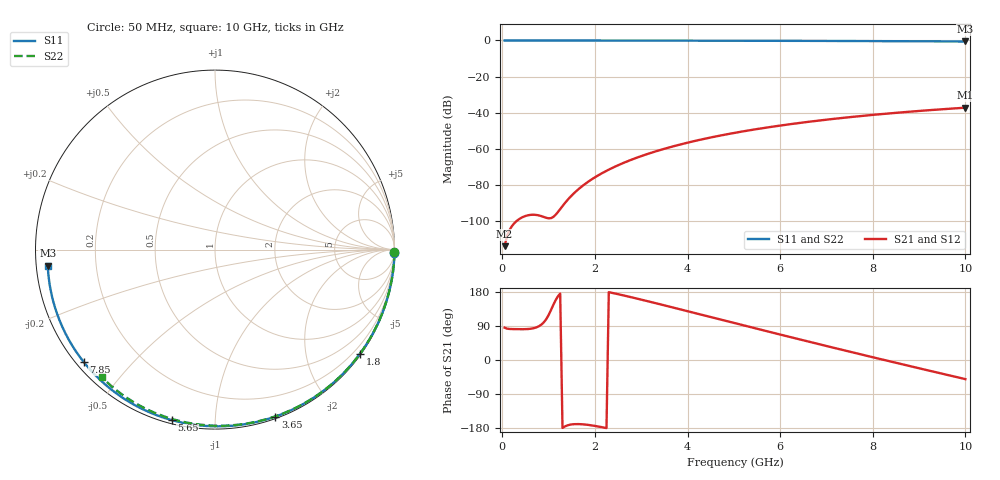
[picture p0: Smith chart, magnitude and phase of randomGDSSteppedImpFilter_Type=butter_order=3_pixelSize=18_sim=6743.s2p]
! freq	dB(S11)	phase(S11)	dB(S12)	phase(S12)
!  dB(S21)	phase(S21)	dB(S22)	phase(S22)
!S-par simulation data
#  GHz  S  DB  R 50
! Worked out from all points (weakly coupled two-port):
!   200 points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, 50 MHz to 10 GHz, reference 50 ohm
!   highest |S21| = -37.16 dB at 10 GHz (marker M1); lowest = -113.7 dB at 50 MHz (marker M2)
!   lowest |S11| = -0.6 dB at 10 GHz (marker M3), VSWR 30.28, Z = 1.66 - j2.39 ohm
!   |S11| at or under -10 dB: nowhere
!   |S22| runs from -0.4 to 0.0 dB; largest |S21 - S12| = 0
!   S11 on the Smith chart (normalised r, x): 50 MHz: open; 1.8 GHz: 0.03, -3.11; 3.65 GHz: 0.02, -1.43; 5.65 GHz: 0.02, -0.78; 7.85 GHz: 0.02, -0.37; 10 GHz: 0.03, -0.05
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0.05  -0.00 -1.0  -113.71 85.4  -113.71 85.4  -0.00 -0.8
0.45  -0.01 -9.1  -97.52 81.2  -97.52 81.2  -0.01 -6.8
0.85  -0.02 -17.0  -97.15 94.0  -97.15 94.0  -0.02 -12.9
1.3  -0.03 -25.9  -91.53 -179.2  -91.53 -179.2  -0.02 -19.6
1.75  -0.04 -34.7  -80.03 -169.9  -80.03 -169.9  -0.03 -26.2
1.8  -0.05 -35.6  -79.08 -170.5  -79.08 -170.5  -0.03 -27.0
2.1  -0.05 -41.4  -74.13 -176.1  -74.13 -176.1  -0.04 -31.3
2.3  -0.06 -45.2  -71.39 179.0  -71.39 179.0  -0.04 -34.3
2.5  -0.06 -49.0  -68.98 173.7  -68.98 173.7  -0.05 -37.1
2.9  -0.07 -56.4  -64.84 162.3  -64.84 162.3  -0.06 -42.9
3.4  -0.09 -65.6  -60.62 147.3  -60.62 147.3  -0.07 -49.9
3.65  -0.09 -70.1  -58.80 139.6  -58.80 139.6  -0.07 -53.4
4.35  -0.12 -82.4  -54.45 118.0  -54.45 118.0  -0.09 -63.0
5.05  -0.15 -94.3  -50.92 96.3  -50.92 96.3  -0.11 -72.3
5.65  -0.17 -104.3  -48.37 77.9  -48.37 77.9  -0.13 -80.0
6.15  -0.20 -112.4  -46.51 62.6  -46.51 62.6  -0.15 -86.3
6.7  -0.24 -121.3  -44.69 45.9  -44.69 45.9  -0.18 -93.1
7.3  -0.28 -130.8  -42.94 28.0  -42.94 28.0  -0.21 -100.4
7.85  -0.33 -139.5  -41.50 11.7  -41.50 11.7  -0.25 -106.9
8.35  -0.38 -147.5  -40.33 -3.0  -40.33 -3.0  -0.29 -112.7
9.2  -0.47 -161.2  -38.57 -27.6  -38.57 -27.6  -0.36 -122.5
10  -0.57 -174.5  -37.16 -50.5  -37.16 -50.5  -0.45 -131.5
